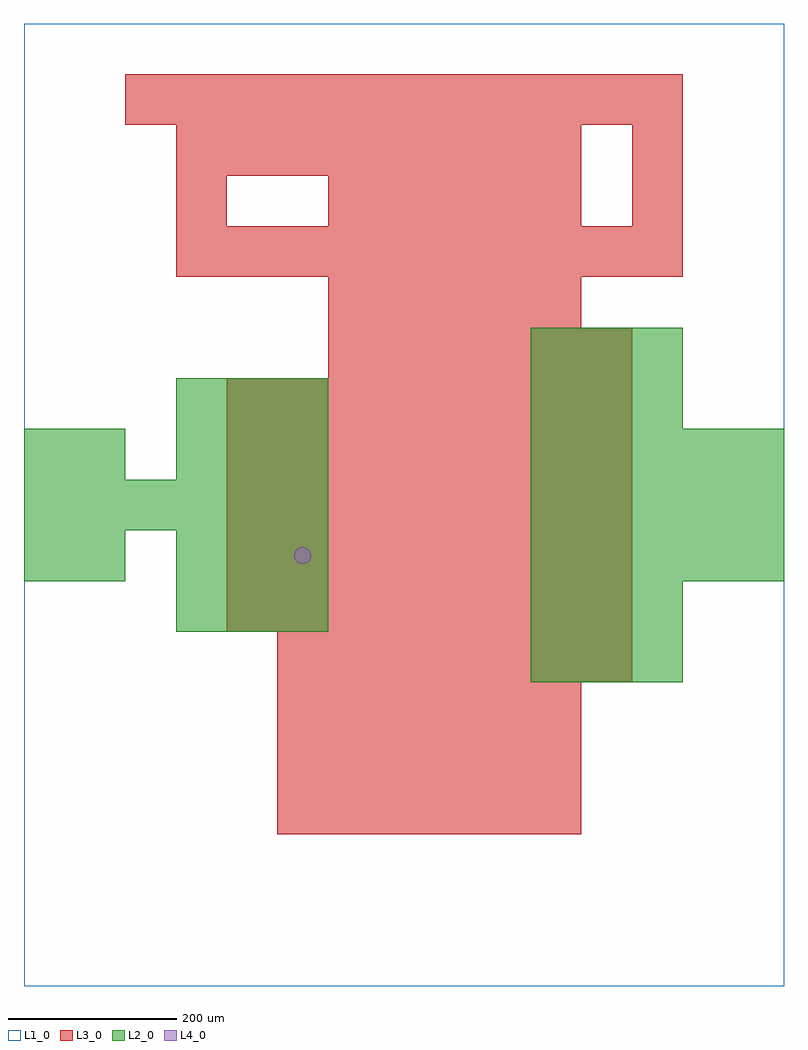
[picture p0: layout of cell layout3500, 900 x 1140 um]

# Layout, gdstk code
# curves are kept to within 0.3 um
import gdstk
lib = gdstk.Library(unit=1e-6, precision=1e-09)
def R(c, l, rs):  # rectangles x0, y0, x1, y1
    for r in rs: c.add(gdstk.rectangle(r[:2], r[2:], *l))
def A(c, l, x, y, w, h, nx, ny, dx, dy):  # array of equal rectangles
    R(c, l, [(x+i*dx, y+j*dy, x+i*dx+w, y+j*dy+h) for i in range(nx) for j in range(ny)])
def P(c, l, *ps):  # polygons
    for p in ps: c.add(gdstk.Polygon(p, *l))
L1_0 = (1, 0)
L2_0 = (2, 0)
L3_0 = (3, 0)
L4_0 = (4, 0)

layout3500 = lib.new_cell('layout3500')
R(layout3500, L1_0, [(0,0,900,1140)])
A(layout3500, L2_0, 600, 360, 60, 60, 3, 2, 60, 60)
A(layout3500, L2_0, 180, 420, 60, 60, 3, 2, 60, 60)
A(layout3500, L2_0, 600, 480, 60, 60, 5, 3, 60, 60)
A(layout3500, L2_0, 0, 540, 60, 60, 6, 1, 60, 0)
A(layout3500, L2_0, 180, 600, 60, 60, 3, 2, 60, 60)
A(layout3500, L2_0, 600, 660, 60, 60, 3, 2, 60, 60)
R(layout3500, L2_0, [(0,480,60,540), (60,480,120,540), (0,600,60,660), (60,600,120,660)])
A(layout3500, L3_0, 300, 180, 60, 60, 6, 3, 60, 60)
A(layout3500, L3_0, 300, 360, 60, 60, 7, 1, 60, 0)
A(layout3500, L3_0, 240, 420, 60, 60, 8, 5, 60, 60)
A(layout3500, L3_0, 360, 720, 60, 60, 6, 1, 60, 0)
A(layout3500, L3_0, 360, 780, 60, 60, 5, 2, 60, 120)
A(layout3500, L3_0, 180, 840, 60, 60, 10, 1, 60, 0)
A(layout3500, L3_0, 180, 960, 60, 60, 8, 1, 60, 0)
A(layout3500, L3_0, 120, 1020, 60, 60, 11, 1, 60, 0)
R(layout3500, L3_0, [(180,900,240,960), (720,900,780,960), (720,960,780,1020)])
P(layout3500, L4_0, [(340,510),(339.239,513.827),(337.071,517.071),(333.827,519.239),(330,520),(326.173,519.239),(322.929,517.071),(320.761,513.827),(320,510),(320.761,506.173),(322.929,502.929),(326.173,500.761),(330,500),(333.827,500.761),(337.071,502.929),(339.239,506.173)])

lib.write_gds('layout3500.gds')
